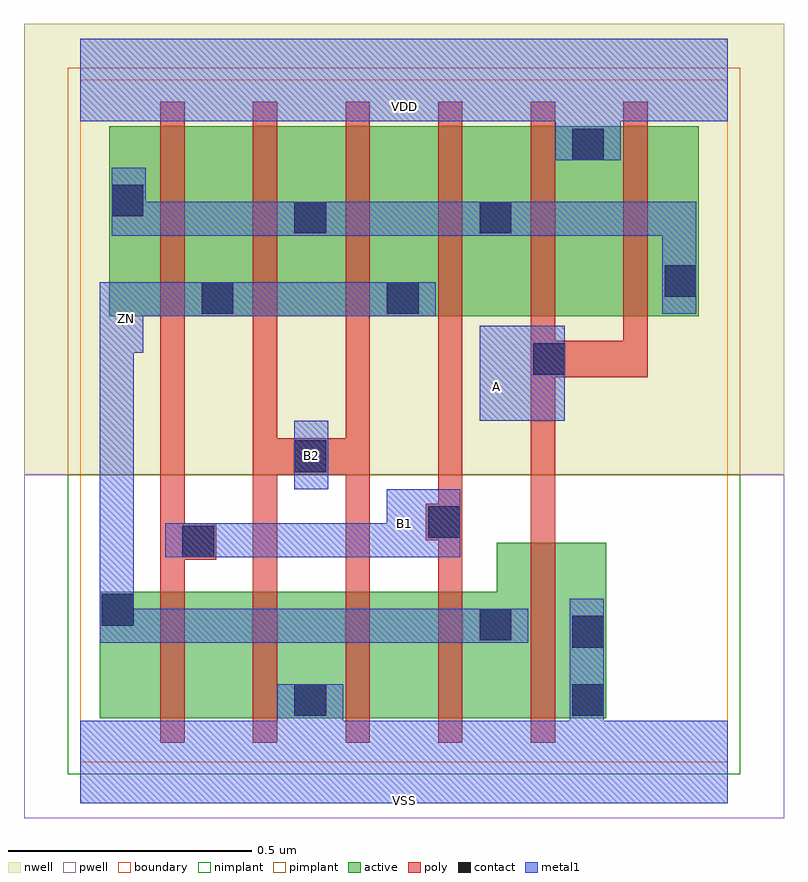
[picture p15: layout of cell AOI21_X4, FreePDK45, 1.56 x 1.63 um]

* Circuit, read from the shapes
.subckt AOI21_X4 A B1 B2 VDD VSS ZN
M1 n1 B1 ZN VSUBS nfet w=0.26u l=0.05u
M2 VSS B2 n1 VSUBS nfet w=0.26u l=0.05u
M3 n2 B2 VSS VSUBS nfet w=0.26u l=0.05u
M4 ZN B1 n2 VSUBS nfet w=0.26u l=0.05u
M5 VSS A ZN VSUBS nfet w=0.36u l=0.05u
M6 ZN B1 n3 n4 pfet w=0.39u l=0.05u m=2
M7 n3 B2 ZN n4 pfet w=0.39u l=0.05u m=2
M8 VDD A n3 n4 pfet w=0.39u l=0.05u m=2
.ends

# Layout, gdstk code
import gdstk
lib = gdstk.Library(unit=1e-6, precision=1e-10)
def R(c, l, rs):  # rectangles x0, y0, x1, y1
    for r in rs: c.add(gdstk.rectangle(r[:2], r[2:], *l))
def P(c, l, *ps):  # polygons
    for p in ps: c.add(gdstk.Polygon(p, *l))
active = (1, 0)
pwell = (2, 0)
nwell = (3, 0)
nimplant = (4, 0)
pimplant = (5, 0)
poly = (9, 0)
contact = (10, 0)
metal1 = (11, 0)
boundary = (235, 0)

aoi21_x4 = lib.new_cell('AOI21_X4')
R(aoi21_x4, active, [(0.06,0.915,1.27,1.305)])
P(aoi21_x4, active, [(0.04,0.09),(1.08,0.09),(1.08,0.45),(0.855,0.45),(0.855,0.35),(0.04,0.35)])
R(aoi21_x4, pwell, [(-0.115,-0.115,1.445,0.59)])
R(aoi21_x4, nwell, [(-0.115,0.59,1.445,1.515)])
R(aoi21_x4, nimplant, [(-0.025,-0.025,1.355,0.59)])
R(aoi21_x4, pimplant, [(-0.025,0.59,1.355,1.425)])
P(aoi21_x4, poly, [(0.165,0.04),(0.215,0.04),(0.215,0.415),(0.28,0.415),(0.28,0.49),(0.215,0.49),(0.215,1.355),(0.165,1.355)],
  [(0.355,0.04),(0.405,0.04),(0.405,0.59),(0.545,0.59),(0.545,0.04),(0.595,0.04),(0.595,1.355),(0.545,1.355),(0.545,0.665),(0.405,0.665),(0.405,1.355),(0.355,1.355)],
  [(0.71,0.455),(0.735,0.455),(0.735,0.04),(0.785,0.04),(0.785,1.355),(0.735,1.355),(0.735,0.53),(0.71,0.53)],
  [(0.925,0.04),(0.975,0.04),(0.975,0.79),(1.165,0.79),(1.165,1.355),(1.115,1.355),(1.115,0.865),(0.975,0.865),(0.975,1.355),(0.925,1.355)])
R(aoi21_x4, contact, [(0.44,0.095,0.505,0.16), (1.01,0.095,1.075,0.16), (1.01,0.235,1.075,0.3), (0.82,0.25,0.885,0.315), (0.045,0.28,0.11,0.345), (0.21,0.42,0.275,0.485), (0.715,0.46,0.78,0.525), (0.44,0.595,0.505,0.66), (0.93,0.795,0.995,0.86), (0.25,0.92,0.315,0.985), (0.63,0.92,0.695,0.985), (1.2,0.955,1.265,1.02), (0.44,1.085,0.505,1.15), (0.82,1.085,0.885,1.15), (0.065,1.12,0.13,1.185), (1.01,1.235,1.075,1.3)])
R(aoi21_x4, metal1, [(0.44,0.56,0.51,0.7), (0.82,0.7,0.995,0.895)])
P(aoi21_x4, metal1, [(0.175,0.42),(0.78,0.42),(0.78,0.56),(0.63,0.56),(0.63,0.49),(0.175,0.49)],
  [(0.04,0.245),(0.92,0.245),(0.92,0.315),(0.11,0.315),(0.11,0.84),(0.13,0.84),(0.13,0.915),(0.73,0.915),(0.73,0.985),(0.04,0.985)],
  [(0.065,1.08),(1.195,1.08),(1.195,0.92),(1.265,0.92),(1.265,1.15),(0.135,1.15),(0.135,1.22),(0.065,1.22)],
  [(0,-0.085),(1.33,-0.085),(1.33,0.085),(1.075,0.085),(1.075,0.335),(1.005,0.335),(1.005,0.085),(0.54,0.085),(0.54,0.16),(0.405,0.16),(0.405,0.085),(0,0.085)],
  [(0,1.315),(0.975,1.315),(0.975,1.235),(1.11,1.235),(1.11,1.315),(1.33,1.315),(1.33,1.485),(0,1.485)])
R(aoi21_x4, boundary, [(0,0,1.33,1.4)])
aoi21_x4.add(gdstk.Label('A', (0.855,0.77), layer=11, texttype=0))
aoi21_x4.add(gdstk.Label('B1', (0.665,0.49), layer=11, texttype=0))
aoi21_x4.add(gdstk.Label('B2', (0.475,0.63), layer=11, texttype=0))
aoi21_x4.add(gdstk.Label('VDD', (0.665,1.345), layer=11, texttype=0))
aoi21_x4.add(gdstk.Label('VSS', (0.665,-0.08), layer=11, texttype=0))
aoi21_x4.add(gdstk.Label('ZN', (0.095,0.91), layer=11, texttype=0))

lib.write_gds('AOI21_X4.gds')
